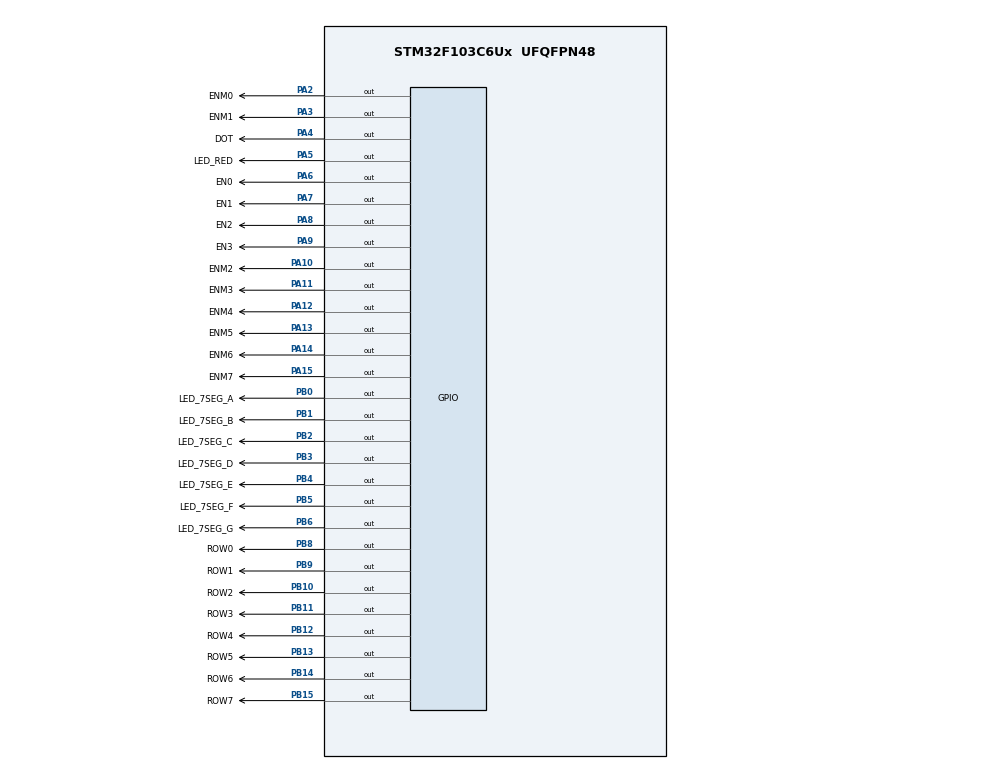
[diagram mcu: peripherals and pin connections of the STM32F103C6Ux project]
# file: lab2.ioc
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Mcu.Family=STM32F1
Mcu.Name=STM32F103C6Ux
Mcu.Package=UFQFPN48
NVIC.PriorityGroup=NVIC_PRIORITYGROUP_4
NVIC.TIM2_IRQn=true\:0\:0\:false\:false\:true\:true\:true\:true
PA10.GPIO_Label=ENM2
PA10.Signal=GPIO_Output
PA11.GPIO_Label=ENM3
PA11.Signal=GPIO_Output
PA12.GPIO_Label=ENM4
PA12.Signal=GPIO_Output
PA13.GPIO_Label=ENM5
PA13.Signal=GPIO_Output
PA14.GPIO_Label=ENM6
PA14.Signal=GPIO_Output
PA15.GPIO_Label=ENM7
PA15.Signal=GPIO_Output
PA2.GPIO_Label=ENM0
PA2.Signal=GPIO_Output
PA3.GPIO_Label=ENM1
PA3.Signal=GPIO_Output
PA4.GPIO_Label=DOT
PA4.Signal=GPIO_Output
PA5.GPIO_Label=LED_RED
PA5.Signal=GPIO_Output
PA6.GPIO_Label=EN0
PA6.Signal=GPIO_Output
PA7.GPIO_Label=EN1
PA7.Signal=GPIO_Output
PA8.GPIO_Label=EN2
PA8.Signal=GPIO_Output
PA9.GPIO_Label=EN3
PA9.Signal=GPIO_Output
PB0.GPIO_Label=LED_7SEG_A
PB0.Signal=GPIO_Output
PB1.GPIO_Label=LED_7SEG_B
PB1.Signal=GPIO_Output
PB10.GPIO_Label=ROW2
PB10.Signal=GPIO_Output
PB11.GPIO_Label=ROW3
PB11.Signal=GPIO_Output
PB12.GPIO_Label=ROW4
PB12.Signal=GPIO_Output
PB13.GPIO_Label=ROW5
PB13.Signal=GPIO_Output
PB14.GPIO_Label=ROW6
PB14.Signal=GPIO_Output
PB15.GPIO_Label=ROW7
PB15.Signal=GPIO_Output
PB2.GPIO_Label=LED_7SEG_C
PB2.Signal=GPIO_Output
PB3.GPIO_Label=LED_7SEG_D
PB3.Signal=GPIO_Output
PB4.GPIO_Label=LED_7SEG_E
PB4.Signal=GPIO_Output
PB5.GPIO_Label=LED_7SEG_F
PB5.Signal=GPIO_Output
PB6.GPIO_Label=LED_7SEG_G
PB6.Signal=GPIO_Output
PB8.GPIO_Label=ROW0
PB8.Signal=GPIO_Output
PB9.GPIO_Label=ROW1
PB9.Signal=GPIO_Output
ProjectManager.HeapSize=0x200
ProjectManager.StackSize=0x400
ProjectManager.TargetToolchain=STM32CubeIDE
RCC.APB1Freq_Value=8000000
RCC.APB2Freq_Value=8000000
TIM2.Period=9
TIM2.Prescaler=7999
VP_SYS_VS_ND.Mode=No_Debug
VP_TIM2_VS_ClockSourceINT.Mode=Internal
board=custom

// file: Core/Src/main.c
/* USER CODE BEGIN Header */
/**
  ******************************************************************************
  * @file           : main.c
  * @brief          : Main program body
  ******************************************************************************
  * @attention
  *
  * Copyright (c) 2025 STMicroelectronics.
  * All rights reserved.
  *
  * This software is licensed under terms that can be found in the LICENSE file
  * in the root directory of this software component.
  * If no LICENSE file comes with this software, it is provided AS-IS.
  *
  ******************************************************************************
  */
/* USER CODE END Header */
#include "main.h"

/* USER CODE BEGIN Includes */
#include "software_timer.h"
/* USER CODE END Includes */

TIM_HandleTypeDef htim2;

void SystemClock_Config(void);
static void MX_GPIO_Init(void);
static void MX_TIM2_Init(void);

/* USER CODE BEGIN 0 */
  void display7SEG(int num) {
	  switch(num) {
	  case 0:
		  HAL_GPIO_WritePin(LED_7SEG_A_GPIO_Port, LED_7SEG_A_Pin,RESET);
		  HAL_GPIO_WritePin(LED_7SEG_B_GPIO_Port, LED_7SEG_B_Pin,RESET);
		  HAL_GPIO_WritePin(LED_7SEG_C_GPIO_Port, LED_7SEG_C_Pin,RESET);
		  HAL_GPIO_WritePin(LED_7SEG_D_GPIO_Port, LED_7SEG_D_Pin,RESET);
		  HAL_GPIO_WritePin(LED_7SEG_E_GPIO_Port, LED_7SEG_E_Pin,RESET);
		  HAL_GPIO_WritePin(LED_7SEG_F_GPIO_Port, LED_7SEG_F_Pin,RESET);
		  HAL_GPIO_WritePin(LED_7SEG_G_GPIO_Port, LED_7SEG_G_Pin,SET);
		  break;
	  case 1:
		  HAL_GPIO_WritePin(LED_7SEG_A_GPIO_Port, LED_7SEG_A_Pin,SET);
		  HAL_GPIO_WritePin(LED_7SEG_B_GPIO_Port, LED_7SEG_B_Pin,RESET);
		  HAL_GPIO_WritePin(LED_7SEG_C_GPIO_Port, LED_7SEG_C_Pin,RESET);
		  HAL_GPIO_WritePin(LED_7SEG_D_GPIO_Port, LED_7SEG_D_Pin,SET);
		  HAL_GPIO_WritePin(LED_7SEG_E_GPIO_Port, LED_7SEG_E_Pin,SET);
		  HAL_GPIO_WritePin(LED_7SEG_F_GPIO_Port, LED_7SEG_F_Pin,SET);
		  HAL_GPIO_WritePin(LED_7SEG_G_GPIO_Port, LED_7SEG_G_Pin,SET);
		  break;
	  case 2:
		  HAL_GPIO_WritePin(LED_7SEG_A_GPIO_Port, LED_7SEG_A_Pin,RESET);
		  HAL_GPIO_WritePin(LED_7SEG_B_GPIO_Port, LED_7SEG_B_Pin,RESET);
		  HAL_GPIO_WritePin(LED_7SEG_C_GPIO_Port, LED_7SEG_C_Pin,SET);
		  HAL_GPIO_WritePin(LED_7SEG_D_GPIO_Port, LED_7SEG_D_Pin,RESET);
		  HAL_GPIO_WritePin(LED_7SEG_E_GPIO_Port, LED_7SEG_E_Pin,RESET);
		  HAL_GPIO_WritePin(LED_7SEG_F_GPIO_Port, LED_7SEG_F_Pin,SET);
		  HAL_GPIO_WritePin(LED_7SEG_G_GPIO_Port, LED_7SEG_G_Pin,RESET);
		  break;
	  case 3:
		  HAL_GPIO_WritePin(LED_7SEG_A_GPIO_Port, LED_7SEG_A_Pin,RESET);
		  HAL_GPIO_WritePin(LED_7SEG_B_GPIO_Port, LED_7SEG_B_Pin,RESET);
		  HAL_GPIO_WritePin(LED_7SEG_C_GPIO_Port, LED_7SEG_C_Pin,RESET);
		  HAL_GPIO_WritePin(LED_7SEG_D_GPIO_Port, LED_7SEG_D_Pin,RESET);
		  HAL_GPIO_WritePin(LED_7SEG_E_GPIO_Port, LED_7SEG_E_Pin,SET);
		  HAL_GPIO_WritePin(LED_7SEG_F_GPIO_Port, LED_7SEG_F_Pin,SET);
		  HAL_GPIO_WritePin(LED_7SEG_G_GPIO_Port, LED_7SEG_G_Pin,RESET);
		  break;
	  case 4:
		  HAL_GPIO_WritePin(LED_7SEG_A_GPIO_Port, LED_7SEG_A_Pin,SET);
		  HAL_GPIO_WritePin(LED_7SEG_B_GPIO_Port, LED_7SEG_B_Pin,RESET);
		  HAL_GPIO_WritePin(LED_7SEG_C_GPIO_Port, LED_7SEG_C_Pin,RESET);
		  HAL_GPIO_WritePin(LED_7SEG_D_GPIO_Port, LED_7SEG_D_Pin,SET);
		  HAL_GPIO_WritePin(LED_7SEG_E_GPIO_Port, LED_7SEG_E_Pin,SET);
		  HAL_GPIO_WritePin(LED_7SEG_F_GPIO_Port, LED_7SEG_F_Pin,RESET);
		  HAL_GPIO_WritePin(LED_7SEG_G_GPIO_Port, LED_7SEG_G_Pin,RESET);
		  break;
	  case 5:
		  HAL_GPIO_WritePin(LED_7SEG_A_GPIO_Port, LED_7SEG_A_Pin,RESET);
		  HAL_GPIO_WritePin(LED_7SEG_B_GPIO_Port, LED_7SEG_B_Pin,SET);
		  HAL_GPIO_WritePin(LED_7SEG_C_GPIO_Port, LED_7SEG_C_Pin,RESET);
		  HAL_GPIO_WritePin(LED_7SEG_D_GPIO_Port, LED_7SEG_D_Pin,RESET);
		  HAL_GPIO_WritePin(LED_7SEG_E_GPIO_Port, LED_7SEG_E_Pin,SET);
		  HAL_GPIO_WritePin(LED_7SEG_F_GPIO_Port, LED_7SEG_F_Pin,RESET);
		  HAL_GPIO_WritePin(LED_7SEG_G_GPIO_Port, LED_7SEG_G_Pin,RESET);
		  break;
	  case 6:
		  HAL_GPIO_WritePin(LED_7SEG_A_GPIO_Port, LED_7SEG_A_Pin,RESET);
		  HAL_GPIO_WritePin(LED_7SEG_B_GPIO_Port, LED_7SEG_B_Pin,SET);
		  HAL_GPIO_WritePin(LED_7SEG_C_GPIO_Port, LED_7SEG_C_Pin,RESET);
		  HAL_GPIO_WritePin(LED_7SEG_D_GPIO_Port, LED_7SEG_D_Pin,RESET);
		  HAL_GPIO_WritePin(LED_7SEG_E_GPIO_Port, LED_7SEG_E_Pin,RESET);
		  HAL_GPIO_WritePin(LED_7SEG_F_GPIO_Port, LED_7SEG_F_Pin,RESET);
		  HAL_GPIO_WritePin(LED_7SEG_G_GPIO_Port, LED_7SEG_G_Pin,RESET);
		  break;
	  case 7:
		  HAL_GPIO_WritePin(LED_7SEG_A_GPIO_Port, LED_7SEG_A_Pin,RESET);
		  HAL_GPIO_WritePin(LED_7SEG_B_GPIO_Port, LED_7SEG_B_Pin,RESET);
		  HAL_GPIO_WritePin(LED_7SEG_C_GPIO_Port, LED_7SEG_C_Pin,RESET);
		  HAL_GPIO_WritePin(LED_7SEG_D_GPIO_Port, LED_7SEG_D_Pin,SET);
		  HAL_GPIO_WritePin(LED_7SEG_E_GPIO_Port, LED_7SEG_E_Pin,SET);
		  HAL_GPIO_WritePin(LED_7SEG_F_GPIO_Port, LED_7SEG_F_Pin,SET);
		  HAL_GPIO_WritePin(LED_7SEG_G_GPIO_Port, LED_7SEG_G_Pin,SET);
		  break;
	  case 8:
		  HAL_GPIO_WritePin(LED_7SEG_A_GPIO_Port, LED_7SEG_A_Pin,RESET);
		  HAL_GPIO_WritePin(LED_7SEG_B_GPIO_Port, LED_7SEG_B_Pin,RESET);
		  HAL_GPIO_WritePin(LED_7SEG_C_GPIO_Port, LED_7SEG_C_Pin,RESET);
		  HAL_GPIO_WritePin(LED_7SEG_D_GPIO_Port, LED_7SEG_D_Pin,RESET);
		  HAL_GPIO_WritePin(LED_7SEG_E_GPIO_Port, LED_7SEG_E_Pin,RESET);
		  HAL_GPIO_WritePin(LED_7SEG_F_GPIO_Port, LED_7SEG_F_Pin,RESET);
		  HAL_GPIO_WritePin(LED_7SEG_G_GPIO_Port, LED_7SEG_G_Pin,RESET);
		  break;
	  case 9:
		  HAL_GPIO_WritePin(LED_7SEG_A_GPIO_Port, LED_7SEG_A_Pin,RESET);
		  HAL_GPIO_WritePin(LED_7SEG_B_GPIO_Port, LED_7SEG_B_Pin,RESET);
		  HAL_GPIO_WritePin(LED_7SEG_C_GPIO_Port, LED_7SEG_C_Pin,RESET);
		  HAL_GPIO_WritePin(LED_7SEG_D_GPIO_Port, LED_7SEG_D_Pin,RESET);
		  HAL_GPIO_WritePin(LED_7SEG_E_GPIO_Port, LED_7SEG_E_Pin,SET);
		  HAL_GPIO_WritePin(LED_7SEG_F_GPIO_Port, LED_7SEG_F_Pin,RESET);
		  HAL_GPIO_WritePin(LED_7SEG_G_GPIO_Port, LED_7SEG_G_Pin,RESET);
		  break;
	  }
  }

  const int MAX_LED = 4;
  int index_led = 0;
  int led_buffer[4] = {1, 2, 3, 4};
  void update7SEG(int index){
	  HAL_GPIO_WritePin(EN0_GPIO_Port, EN0_Pin, SET);
	  HAL_GPIO_WritePin(EN1_GPIO_Port, EN1_Pin, SET);
	  HAL_GPIO_WritePin(EN2_GPIO_Port, EN2_Pin, SET);
	  HAL_GPIO_WritePin(EN3_GPIO_Port, EN3_Pin, SET);
	  switch (index){
	  case 0:
		  display7SEG(led_buffer[index]);
		  HAL_GPIO_WritePin(EN0_GPIO_Port, EN0_Pin, RESET);
		  break;
	  case 1:
		  display7SEG(led_buffer[index]);
		  HAL_GPIO_WritePin(EN1_GPIO_Port, EN1_Pin, RESET);
		  break;
	  case 2:
		  display7SEG(led_buffer[index]);
		  HAL_GPIO_WritePin(EN2_GPIO_Port, EN2_Pin, RESET);
		  break;
	  case 3:
		  display7SEG(led_buffer[index]);
		  HAL_GPIO_WritePin(EN3_GPIO_Port, EN3_Pin, RESET);
		  break;
	  default:
		  break;
	  }
  }

  const int MAX_LED_MATRIX = 8;
  int index_led_matrix = 0;
  uint8_t matrix_buffer[8] = {
      0x0E, // col 0 (00001110)
      0x11, // col 1 (00010001)
      0x11, // col 2 (00010001)
      0x1F, // col 3 (00011111)
      0x11, // col 4 (00010001)
      0x11, // col 5 (00010001)
      0x11, // col 6 (00010001)
      0x00  // col 7
  };
  void updateLEDMatrix(int index) {
	    HAL_GPIO_WritePin(ENM0_GPIO_Port, ENM0_Pin, SET);
	    HAL_GPIO_WritePin(ENM1_GPIO_Port, ENM1_Pin, SET);
	    HAL_GPIO_WritePin(ENM2_GPIO_Port, ENM2_Pin, SET);
	    HAL_GPIO_WritePin(ENM3_GPIO_Port, ENM3_Pin, SET);
	    HAL_GPIO_WritePin(ENM4_GPIO_Port, ENM4_Pin, SET);
	    HAL_GPIO_WritePin(ENM5_GPIO_Port, ENM5_Pin, SET);
	    HAL_GPIO_WritePin(ENM6_GPIO_Port, ENM6_Pin, SET);
	    HAL_GPIO_WritePin(ENM7_GPIO_Port, ENM7_Pin, SET);

	    uint8_t data = matrix_buffer[index];

	    for (int row = 0; row < 8; row++) {
	        if (data & (1 << (7-row)))
	            HAL_GPIO_WritePin(GPIOB, (1 << (8 + row)), GPIO_PIN_RESET);
	        else
	            HAL_GPIO_WritePin(GPIOB, (1 << (8 + row)), GPIO_PIN_SET);
	    }

	  switch (index){
	      case 0:
	    	  HAL_GPIO_WritePin(ENM0_GPIO_Port, ENM0_Pin, RESET);
	    	  break;
	      case 1:
	    	  HAL_GPIO_WritePin(ENM1_GPIO_Port, ENM1_Pin, RESET);
	      	  break;
	      case 2:
	    	  HAL_GPIO_WritePin(ENM2_GPIO_Port, ENM2_Pin, RESET);
	      	  break;
	      case 3:
	    	  HAL_GPIO_WritePin(ENM3_GPIO_Port, ENM3_Pin, RESET);
	      	  break;
	      case 4:
	    	  HAL_GPIO_WritePin(ENM4_GPIO_Port, ENM4_Pin, RESET);
	      	  break;
	      case 5:
	    	  HAL_GPIO_WritePin(ENM5_GPIO_Port, ENM5_Pin, RESET);
	      	  break;
	      case 6:
	    	  HAL_GPIO_WritePin(ENM6_GPIO_Port, ENM6_Pin, RESET);
	      	  break;
	      case 7:
	    	  HAL_GPIO_WritePin(ENM7_GPIO_Port, ENM7_Pin, RESET);
	      	  break;
	      default:
	    	  break;
	  }
  }

  void shiftDown(uint8_t newCol) {
      for (int i = MAX_LED_MATRIX - 1; i > 0; i--) {
          matrix_buffer[i] = matrix_buffer[i-1];
      }
      matrix_buffer[0] = newCol;
  }

/* USER CODE END 0 */

int main(void)
{

  /* MCU Configuration--------------------------------------------------------*/

  /* Reset of all peripherals, Initializes the Flash interface and the Systick. */
  HAL_Init();

  /* Configure the system clock */
  SystemClock_Config();

  /* Initialize all configured peripherals */
  MX_GPIO_Init();
  MX_TIM2_Init();
  /* USER CODE BEGIN 2 */
  HAL_TIM_Base_Start_IT(&htim2);
  /* USER CODE END 2 */

  /* Infinite loop */
  /* USER CODE BEGIN WHILE */
  int hour = 15, minute = 8, second = 50;

  void updateClockBuffer(){
	  if(hour < 10) {
		  led_buffer[0] = 0;
		  led_buffer[1] = hour;
	  } else {
		  led_buffer[0] = hour / 10;
		  led_buffer[1] = hour - (hour / 10) * 10;
	  }

	  if(minute < 10) {
		  led_buffer[2] = 0;
		  led_buffer[3] = minute;
	  } else {
		  led_buffer[2] = minute / 10;
		  led_buffer[3] = minute - (minute / 10) * 10;
	  }
  }

  setTimer1(100);
  setTimer2(25);
  setTimer3(25);
  int state = 0;
  while (1)
  {
//	  if(timer3_flag == 1) {
//		  HAL_GPIO_TogglePin(LED_RED_GPIO_Port, LED_RED_Pin);
//		  setTimer3(100);
//	  }
	  if(timer1_flag == 1) {
		  setTimer1(100);

		  //chop tat led va dot
		  HAL_GPIO_TogglePin(LED_RED_GPIO_Port, LED_RED_Pin);
		  HAL_GPIO_TogglePin(DOT_GPIO_Port,DOT_Pin);

		  //tang gia tri cac bien thoi gian
		  second++;
		  if (second >= 60){
			  second = 0;
			  minute++;
		  }
		  if (minute >= 60){
			      minute = 0;
		  		  hour++;
		  }
		  if (hour >= 24){
			  hour = 0;
	      }
		  updateClockBuffer();
	  }

	  if(timer2_flag == 1){
		  setTimer2(25);
		  //TODO
          update7SEG(index_led);
		  index_led++;
		  if (index_led > MAX_LED - 1) index_led = 0;
		  //timer3
	      updateLEDMatrix(index_led_matrix);
	      index_led_matrix++;
	      if (index_led_matrix >= MAX_LED_MATRIX) index_led_matrix = 0;
	  }

//	  if (timer3_flag == 1){
//	      setTimer3(25); // quét 1 cột mỗi 25ms
////	      updateLEDMatrix(index_led_matrix);
////	      index_led_matrix++;
////	      if (index_led_matrix >= MAX_LED_MATRIX) index_led_matrix = 0;
//	  }
	    if (state == 0 && timer2_flag == 1) {
	        state = 1;
	        setTimer3(200);  //bd dich
	    }

	    if (state == 1 && timer3_flag == 1) {
	        shiftDown(0x00);
	        setTimer3(200);
	    }

    /* USER CODE END WHILE */

  }
}

void SystemClock_Config(void)
{
  RCC_OscInitTypeDef RCC_OscInitStruct = {0};
  RCC_ClkInitTypeDef RCC_ClkInitStruct = {0};

  /** Initializes the RCC Oscillators according to the specified parameters
  * in the RCC_OscInitTypeDef structure.
  */
  RCC_OscInitStruct.OscillatorType = RCC_OSCILLATORTYPE_HSI;
  RCC_OscInitStruct.HSIState = RCC_HSI_ON;
  RCC_OscInitStruct.HSICalibrationValue = RCC_HSICALIBRATION_DEFAULT;
  RCC_OscInitStruct.PLL.PLLState = RCC_PLL_NONE;
  if (HAL_RCC_OscConfig(&RCC_OscInitStruct) != HAL_OK)
  {
    Error_Handler();
  }

  /** Initializes the CPU, AHB and APB buses clocks
  */
  RCC_ClkInitStruct.ClockType = RCC_CLOCKTYPE_HCLK|RCC_CLOCKTYPE_SYSCLK
                              |RCC_CLOCKTYPE_PCLK1|RCC_CLOCKTYPE_PCLK2;
  RCC_ClkInitStruct.SYSCLKSource = RCC_SYSCLKSOURCE_HSI;
  RCC_ClkInitStruct.AHBCLKDivider = RCC_SYSCLK_DIV1;
  RCC_ClkInitStruct.APB1CLKDivider = RCC_HCLK_DIV1;
  RCC_ClkInitStruct.APB2CLKDivider = RCC_HCLK_DIV1;

  if (HAL_RCC_ClockConfig(&RCC_ClkInitStruct, FLASH_LATENCY_0) != HAL_OK)
  {
    Error_Handler();
  }
}

static void MX_TIM2_Init(void)
{

  TIM_ClockConfigTypeDef sClockSourceConfig = {0};
  TIM_MasterConfigTypeDef sMasterConfig = {0};

  htim2.Instance = TIM2;
  htim2.Init.Prescaler = 7999;
  htim2.Init.CounterMode = TIM_COUNTERMODE_UP;
  htim2.Init.Period = 9;
  htim2.Init.ClockDivision = TIM_CLOCKDIVISION_DIV1;
  htim2.Init.AutoReloadPreload = TIM_AUTORELOAD_PRELOAD_DISABLE;
  if (HAL_TIM_Base_Init(&htim2) != HAL_OK)
  {
    Error_Handler();
  }
  sClockSourceConfig.ClockSource = TIM_CLOCKSOURCE_INTERNAL;
  if (HAL_TIM_ConfigClockSource(&htim2, &sClockSourceConfig) != HAL_OK)
  {
    Error_Handler();
  }
  sMasterConfig.MasterOutputTrigger = TIM_TRGO_RESET;
  sMasterConfig.MasterSlaveMode = TIM_MASTERSLAVEMODE_DISABLE;
  if (HAL_TIMEx_MasterConfigSynchronization(&htim2, &sMasterConfig) != HAL_OK)
  {
    Error_Handler();
  }

}

static void MX_GPIO_Init(void)
{
  GPIO_InitTypeDef GPIO_InitStruct = {0};

  /* GPIO Ports Clock Enable */
  __HAL_RCC_GPIOA_CLK_ENABLE();
  __HAL_RCC_GPIOB_CLK_ENABLE();

  /*Configure GPIO pin Output Level */
  HAL_GPIO_WritePin(GPIOA, ENM0_Pin|ENM1_Pin|DOT_Pin|LED_RED_Pin
                          |EN0_Pin|EN1_Pin|EN2_Pin|EN3_Pin
                          |ENM2_Pin|ENM3_Pin|ENM4_Pin|ENM5_Pin
                          |ENM6_Pin|ENM7_Pin, GPIO_PIN_RESET);

  /*Configure GPIO pin Output Level */
  HAL_GPIO_WritePin(GPIOB, LED_7SEG_A_Pin|LED_7SEG_B_Pin|LED_7SEG_C_Pin|ROW2_Pin
                          |ROW3_Pin|ROW4_Pin|ROW5_Pin|ROW6_Pin
                          |ROW7_Pin|LED_7SEG_D_Pin|LED_7SEG_E_Pin|LED_7SEG_F_Pin
                          |LED_7SEG_G_Pin|ROW0_Pin|ROW1_Pin, GPIO_PIN_RESET);

  /*Configure GPIO pins : ENM0_Pin ENM1_Pin DOT_Pin LED_RED_Pin
                           EN0_Pin EN1_Pin EN2_Pin EN3_Pin
                           ENM2_Pin ENM3_Pin ENM4_Pin ENM5_Pin
                           ENM6_Pin ENM7_Pin */
  GPIO_InitStruct.Pin = ENM0_Pin|ENM1_Pin|DOT_Pin|LED_RED_Pin
                          |EN0_Pin|EN1_Pin|EN2_Pin|EN3_Pin
                          |ENM2_Pin|ENM3_Pin|ENM4_Pin|ENM5_Pin
                          |ENM6_Pin|ENM7_Pin;
  GPIO_InitStruct.Mode = GPIO_MODE_OUTPUT_PP;
  GPIO_InitStruct.Pull = GPIO_NOPULL;
  GPIO_InitStruct.Speed = GPIO_SPEED_FREQ_LOW;
  HAL_GPIO_Init(GPIOA, &GPIO_InitStruct);

  /*Configure GPIO pins : LED_7SEG_A_Pin LED_7SEG_B_Pin LED_7SEG_C_Pin ROW2_Pin
                           ROW3_Pin ROW4_Pin ROW5_Pin ROW6_Pin
                           ROW7_Pin LED_7SEG_D_Pin LED_7SEG_E_Pin LED_7SEG_F_Pin
                           LED_7SEG_G_Pin ROW0_Pin ROW1_Pin */
  GPIO_InitStruct.Pin = LED_7SEG_A_Pin|LED_7SEG_B_Pin|LED_7SEG_C_Pin|ROW2_Pin
                          |ROW3_Pin|ROW4_Pin|ROW5_Pin|ROW6_Pin
                          |ROW7_Pin|LED_7SEG_D_Pin|LED_7SEG_E_Pin|LED_7SEG_F_Pin
                          |LED_7SEG_G_Pin|ROW0_Pin|ROW1_Pin;
  GPIO_InitStruct.Mode = GPIO_MODE_OUTPUT_PP;
  GPIO_InitStruct.Pull = GPIO_NOPULL;
  GPIO_InitStruct.Speed = GPIO_SPEED_FREQ_LOW;
  HAL_GPIO_Init(GPIOB, &GPIO_InitStruct);

}

/* USER CODE BEGIN 4 */
int counter = 0;
void HAL_TIM_PeriodElapsedCallback(TIM_HandleTypeDef *htim){

		timerRun();
//		//quet led moi 25ms
//		if(counter % 25 == 0){
//			update7SEG(index_led);
//			index_led++;
//			if (index_led > MAX_LED - 1) index_led = 0;
//		}
//		//dot va led blink moi 1000ms
//		if(counter % 100 == 0){
//			HAL_GPIO_TogglePin(LED_RED_GPIO_Port, LED_RED_Pin);
//			HAL_GPIO_TogglePin(DOT_GPIO_Port,DOT_Pin);
//		}
//		counter++;
//		if(counter >= 1000) counter = 0;
//	}
}
/* USER CODE END 4 */

void Error_Handler(void)
{
  __disable_irq();
  while (1)
  {
  }
}
